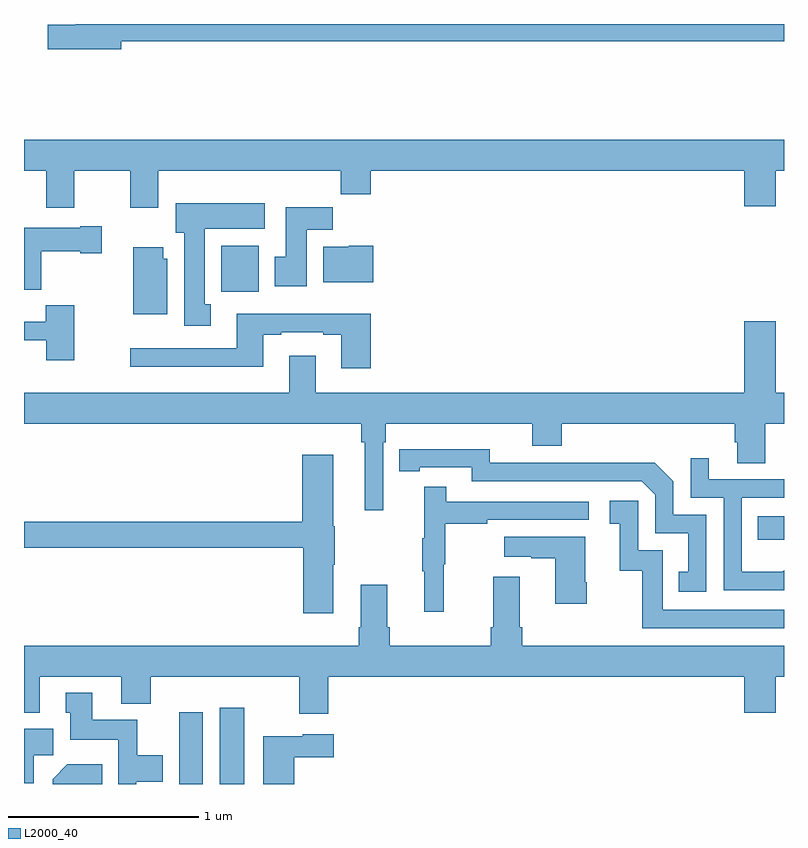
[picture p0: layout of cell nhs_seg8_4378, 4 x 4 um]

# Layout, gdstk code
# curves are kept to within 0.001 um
import gdstk
lib = gdstk.Library(unit=1e-6, precision=1e-09)
def R(c, l, rs):  # rectangles x0, y0, x1, y1
    for r in rs: c.add(gdstk.rectangle(r[:2], r[2:], *l))
def P(c, l, *ps):  # polygons
    for p in ps: c.add(gdstk.Polygon(p, *l))
L2000_40 = (2000, 40)

nhs_seg8_4378 = lib.new_cell('nhs_seg8_4378')
R(nhs_seg8_4378, L2000_40, [(377.816,1151.9,377.941,1152.277), (378.029,1151.9,378.16,1152.301), (380.863,1153.185,381,1153.308), (378.038,1154.492,378.235,1154.734)])
P(nhs_seg8_4378, L2000_40, [(377.512,1155.808),(381,1155.808),(381,1155.9),(377.273,1155.9),(377.273,1155.895),(377.124,1155.895),(377.124,1155.766),(377.512,1155.766)],
  [(377.265,1155.128),(377.56,1155.128),(377.56,1154.934),(377.707,1154.934),(377.707,1155.128),(378.667,1155.128),(378.667,1155.004),(378.824,1155.004),(378.824,1155.128),(380.792,1155.128),(380.792,1154.94),(380.956,1154.94),(380.956,1155.128),(381,1155.128),(381,1155.292),(377,1155.292),(377,1155.128),(377.117,1155.128),(377.117,1154.934),(377.265,1154.934)],
  [(377.983,1154.426),(377.95,1154.426),(377.95,1154.822),(378.268,1154.822),(378.268,1154.956),(377.798,1154.956),(377.798,1154.802),(377.843,1154.802),(377.843,1154.313),(377.983,1154.313)],
  [(378.487,1154.816),(378.626,1154.816),(378.626,1154.935),(378.377,1154.935),(378.377,1154.676),(378.32,1154.676),(378.32,1154.52),(378.487,1154.52)],
  [(377.09,1154.705),(377.297,1154.705),(377.297,1154.693),(377.41,1154.693),(377.41,1154.835),(377.297,1154.835),(377.297,1154.827),(377,1154.827),(377,1154.501),(377.09,1154.501)],
  [(378.839,1154.734),(378.708,1154.734),(378.708,1154.728),(378.575,1154.728),(378.575,1154.54),(378.839,1154.54)],
  [(377.755,1154.664),(377.734,1154.664),(377.734,1154.725),(377.576,1154.725),(377.576,1154.372),(377.755,1154.372)],
  [(377.265,1154.419),(377.115,1154.419),(377.115,1154.332),(377,1154.332),(377,1154.235),(377.117,1154.235),(377.117,1154.13),(377.265,1154.13)],
  [(378.824,1154.374),(378.119,1154.374),(378.119,1154.193),(377.559,1154.193),(377.559,1154.096),(378.259,1154.096),(378.259,1154.265),(378.355,1154.265),(378.355,1154.277),(378.575,1154.277),(378.575,1154.265),(378.671,1154.265),(378.671,1154.088),(378.824,1154.088)],
  [(378.891,1153.7),(378.905,1153.7),(378.905,1153.796),(379.676,1153.796),(379.676,1153.679),(379.829,1153.679),(379.829,1153.796),(380.741,1153.796),(380.741,1153.698),(380.753,1153.698),(380.753,1153.588),(380.901,1153.588),(380.901,1153.796),(381,1153.796),(381,1153.96),(380.956,1153.96),(380.956,1154.335),(380.792,1154.335),(380.792,1153.96),(378.535,1153.96),(378.535,1154.155),(378.395,1154.155),(378.395,1153.96),(377,1153.96),(377,1153.796),(378.775,1153.796),(378.775,1153.7),(378.794,1153.7),(378.794,1153.341),(378.891,1153.341)],
  [(380.592,1153.317),(380.418,1153.317),(380.418,1153.494),(380.32,1153.592),(379.912,1153.592),(379.912,1153.59),(379.452,1153.59),(379.452,1153.663),(378.976,1153.662),(378.976,1153.546),(379.084,1153.546),(379.084,1153.566),(379.356,1153.566),(379.356,1153.494),(380.25,1153.494),(380.322,1153.422),(380.322,1153.221),(380.495,1153.221),(380.495,1153.017),(380.446,1153.017),(380.446,1152.912),(380.592,1152.912)],
  [(378.628,1153.055),(378.636,1153.055),(378.636,1153.257),(378.628,1153.257),(378.628,1153.633),(378.464,1153.633),(378.464,1153.28),(377,1153.28),(377,1153.144),(378.47,1153.144),(378.47,1152.798),(378.628,1152.798)],
  [(381,1153.026),(380.992,1153.018),(380.778,1153.018),(380.778,1153.407),(381,1153.407),(381,1153.503),(380.605,1153.503),(380.605,1153.615),(380.508,1153.615),(380.508,1153.407),(380.682,1153.407),(380.682,1152.921),(381,1152.921)],
  [(379.208,1153.056),(379.216,1153.056),(379.216,1153.27),(379.439,1153.27),(379.439,1153.29),(379.972,1153.29),(379.972,1153.386),(379.223,1153.386),(379.223,1153.465),(379.106,1153.465),(379.106,1153.193),(379.095,1153.193),(379.095,1153.019),(379.106,1153.019),(379.106,1152.807),(379.208,1152.807)],
  [(381,1152.816),(380.361,1152.816),(380.361,1153.131),(380.232,1153.131),(380.232,1153.39),(380.082,1153.39),(380.082,1153.269),(380.135,1153.269),(380.135,1153.023),(380.253,1153.023),(380.253,1152.72),(381,1152.72)],
  [(379.962,1152.961),(379.954,1152.961),(379.954,1153.201),(379.527,1153.201),(379.527,1153.097),(379.67,1153.097),(379.67,1153.087),(379.796,1153.087),(379.796,1152.849),(379.962,1152.849)],
  [(378.602,1152.464),(380.792,1152.464),(380.792,1152.276),(380.956,1152.276),(380.956,1152.464),(381,1152.464),(381,1152.628),(379.622,1152.628),(379.622,1152.724),(379.609,1152.724),(379.609,1152.991),(379.469,1152.991),(379.469,1152.724),(379.457,1152.724),(379.457,1152.628),(378.926,1152.628),(378.926,1152.724),(378.913,1152.724),(378.913,1152.949),(378.773,1152.949),(378.773,1152.724),(378.761,1152.724),(378.761,1152.628),(377,1152.628),(377,1152.275),(377.083,1152.275),(377.083,1152.464),(377.513,1152.464),(377.513,1152.323),(377.666,1152.323),(377.666,1152.464),(378.449,1152.464),(378.449,1152.27),(378.602,1152.27)],
  [(377.592,1151.912),(377.731,1151.912),(377.731,1152.052),(377.595,1152.052),(377.595,1152.238),(377.359,1152.238),(377.359,1152.379),(377.219,1152.379),(377.219,1152.276),(377.243,1152.276),(377.243,1152.134),(377.496,1152.134),(377.496,1151.9),(377.592,1151.9)],
  [(377.05,1152.052),(377.155,1152.052),(377.155,1152.19),(377,1152.19),(377,1151.904),(377.05,1151.904)],
  [(378.422,1152.041),(378.631,1152.041),(378.631,1152.163),(378.468,1152.163),(378.468,1152.151),(378.26,1152.151),(378.26,1151.9),(378.422,1151.9)],
  [(377.411,1152.004),(377.228,1152.004),(377.15,1151.926),(377.15,1151.9),(377.411,1151.9)])

lib.write_gds('nhs_seg8_4378.gds')
